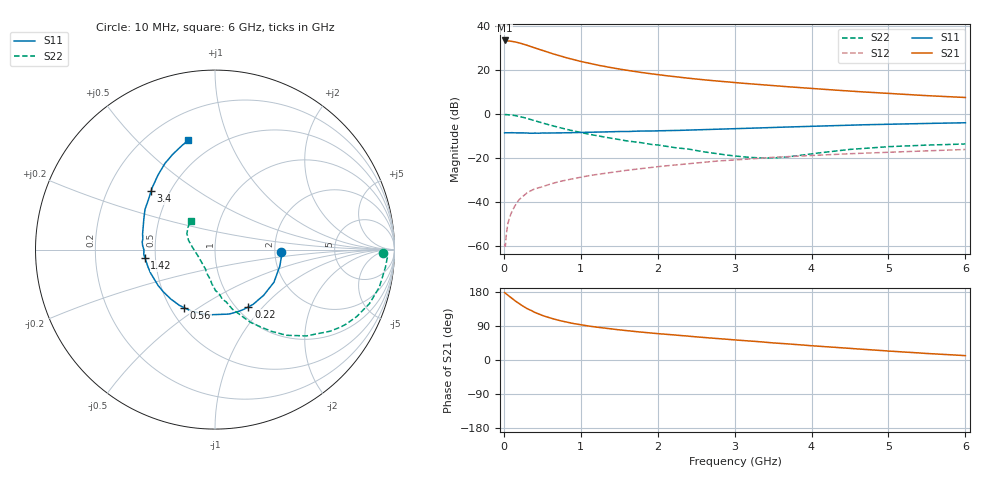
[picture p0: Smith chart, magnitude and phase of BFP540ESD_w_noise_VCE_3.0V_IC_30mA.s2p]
! Infineon Technologies  Discrete & RF Semiconductors
! BFP540ESD
! VCE =  3.0 V,  IC =  30 mA
! Common Emitter S-Parameters:  Nov 2015
# GHz  S  MA  R  50
!  f  S11  S21  S12  S22
! GHz  MAG  ANG  MAG  ANG  MAG  ANG  MAG  ANG
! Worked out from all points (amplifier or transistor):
!   210 points, 10 MHz to 6 GHz, reference 50 ohm
!   highest |S21| = 33.2 dB at 10 MHz (marker M1)
!   |S21| within 3 dB of that: start of sweep to 370.3 MHz
!   unconditionally stable (mu >= 1): start of sweep to 11.05 MHz; 1.87 GHz to end of sweep
!   at 185 MHz: K = 0.25, MSG = 35.9 dB, |S12| = -39.6 dB
!   at 1.52 GHz: K = 0.95, MSG = 23.1 dB, |S12| = -26.0 dB
!   at 6 GHz: K = 1.10, MAG = 9.8 dB, |S12| = -16.2 dB
!   lowest NFmin = 1.41 dB at 900 MHz
!   S11 on the Smith chart (normalised r, x): 10 MHz: 2.16, -0.07; 220 MHz: 1.13, -0.83; 560 MHz: 0.59, -0.44; 1.42 GHz: 0.44, -0.05; 3.4 GHz: 0.39, +0.34; 6 GHz: 0.36, +0.72
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0.01  0.3677 -2.1  45.93 177.7  0.0011 104.3  0.9339 -1.0
0.05  0.3726 -14.2  45.2 171.4  0.0031 89.9  0.9545 -6.0
0.1  0.3754 -28.9  44.12 163.4  0.0058 82.3  0.939 -12.9
0.15  0.3719 -43.1  42.55 155.7  0.0085 80.1  0.9116 -19.3
0.2  0.3717 -55.3  40.44 148.5  0.0114 77.7  0.8735 -25.3
0.22  0.3694 -59.8  39.46 146.0  0.0122 75.5  0.8562 -27.4
0.3  0.3676 -77.7  35.84 135.9  0.0161 71.0  0.7866 -35.3
0.4  0.365 -95.4  31.27 125.8  0.0199 66.7  0.7003 -43.4
0.5  0.3676 -110.9  27.39 117.4  0.0222 64.7  0.6214 -50.2
0.56  0.3664 -117.9  25.27 113.6  0.0241 63.9  0.5805 -53.1
0.6  0.3686 -122.6  23.93 110.7  0.0254 63.5  0.5541 -55.3
0.7  0.3695 -131.9  21.25 105.2  0.0286 63.2  0.4984 -59.6
0.8  0.3718 -140.9  18.89 100.4  0.0312 62.4  0.4506 -64.0
1.02  0.3775 -155.2  15.1 92.3  0.0371 60.7  0.37 -70.8
1.42  0.3934 -173.4  10.92 81.5  0.0475 59.5  0.2747 -82.0
2.02  0.4126 167.9  7.637 69.3  0.0638 56.4  0.1941 -94.9
2.6  0.4387 153.9  5.89 59.4  0.0798 52.0  0.1375 -110.5
3.1  0.4632 143.3  4.936 51.6  0.0925 47.7  0.1064 -130.2
3.4  0.483 137.4  4.483 46.9  0.1004 44.9  0.0997 -149.0
4.1  0.529 125.8  3.648 36.3  0.1157 38.4  0.13 172.0
5.1  0.5853 112.8  2.831 22.4  0.1367 29.2  0.1826 148.3
6  0.6264 103.8  2.342 11.4  0.1551 22.3  0.2072 130.9
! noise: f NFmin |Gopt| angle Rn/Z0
0.9  1.41  0.38  -138  0.12
1.8  1.56  0.4  -142  0.12
2.4  1.58  0.41  -133  0.14
3  1.7  0.43  -126  0.17
4  1.76  0.52  -104  0.29
5  1.88  0.59  -87  0.46
6  2.22  0.57  -86  0.68
